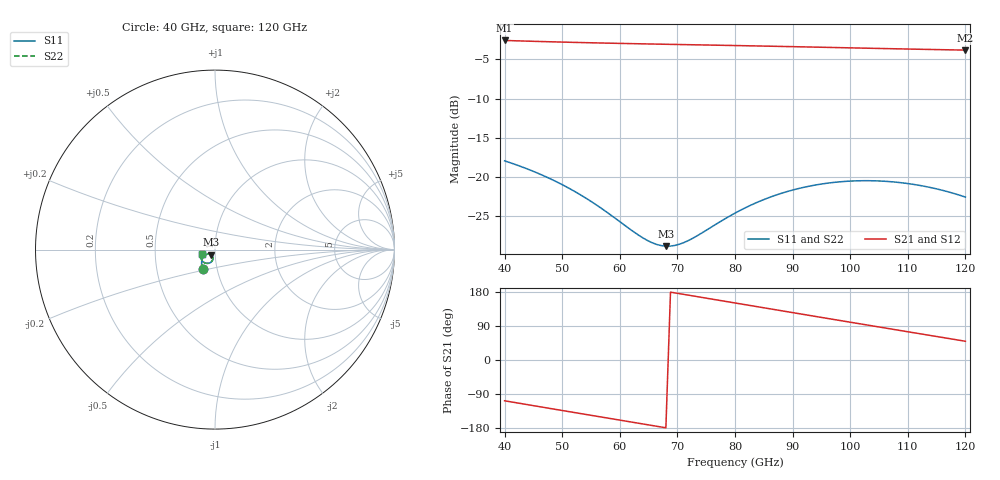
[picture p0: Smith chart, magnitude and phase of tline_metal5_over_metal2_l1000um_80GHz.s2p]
#  GHZ S DB R 50
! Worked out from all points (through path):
!   101 points, 40 GHz to 120 GHz, reference 50 ohm
!   highest |S21| = -2.59 dB at 40 GHz (marker M1); lowest = -3.8 dB at 120 GHz (marker M2)
!   group delay of S21, straight-line fit = 7.05 ps
!   lowest |S11| = -28.8 dB at 68 GHz (marker M3), VSWR 1.08, Z = 47.8 - j2.79 ohm
!   |S11| at or under -10 dB: start of sweep to end of sweep
!   |S22| runs from -28.7 to -17.9 dB; largest |S21 - S12| = 0
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40  -17.92 -121.3  -2.59 -107.6  -2.59 -107.6  -17.88 -121.4
46.4  -19.69 -135.9  -2.72 -124.0  -2.72 -124.0  -19.64 -136.0
50.4  -21.11 -143.3  -2.80 -134.2  -2.80 -134.2  -21.04 -143.4
53.6  -22.44 -147.8  -2.86 -142.4  -2.86 -142.4  -22.35 -147.9
57.6  -24.38 -150.4  -2.92 -152.5  -2.92 -152.5  -24.27 -150.7
60.8  -26.10 -148.8  -2.97 -160.7  -2.97 -160.7  -25.97 -149.2
64.8  -28.06 -139.7  -3.03 -170.8  -3.03 -170.8  -27.92 -140.5
67.2  -28.72 -130.3  -3.06 -176.9  -3.06 -176.9  -28.60 -131.4
68  -28.79 -126.8  -3.07 -178.9  -3.07 -178.9  -28.68 -128.0
69.6  -28.69 -120.0  -3.09 177.0  -3.09 177.0  -28.61 -121.3
72  -28.04 -111.4  -3.13 170.9  -3.13 170.9  -28.01 -112.6
76  -26.31 -103.6  -3.18 160.7  -3.18 160.7  -26.33 -104.7
80  -24.58 -102.6  -3.23 150.5  -3.23 150.5  -24.61 -103.4
83.2  -23.41 -104.8  -3.28 142.4  -3.28 142.4  -23.45 -105.5
87.2  -22.26 -109.6  -3.33 132.2  -3.33 132.2  -22.29 -110.1
93.6  -21.05 -119.7  -3.43 115.9  -3.43 115.9  -21.08 -120.1
96.8  -20.69 -125.2  -3.48 107.8  -3.48 107.8  -20.72 -125.6
100  -20.50 -131.0  -3.53 99.7  -3.53 99.7  -20.52 -131.3
103.2  -20.45 -136.7  -3.58 91.7  -3.58 91.7  -20.47 -137.0
107.2  -20.58 -143.7  -3.64 81.6  -3.64 81.6  -20.60 -144.0
113.6  -21.26 -154.1  -3.73 65.5  -3.73 65.5  -21.28 -154.3
120  -22.54 -162.3  -3.81 49.5  -3.81 49.5  -22.54 -162.5
